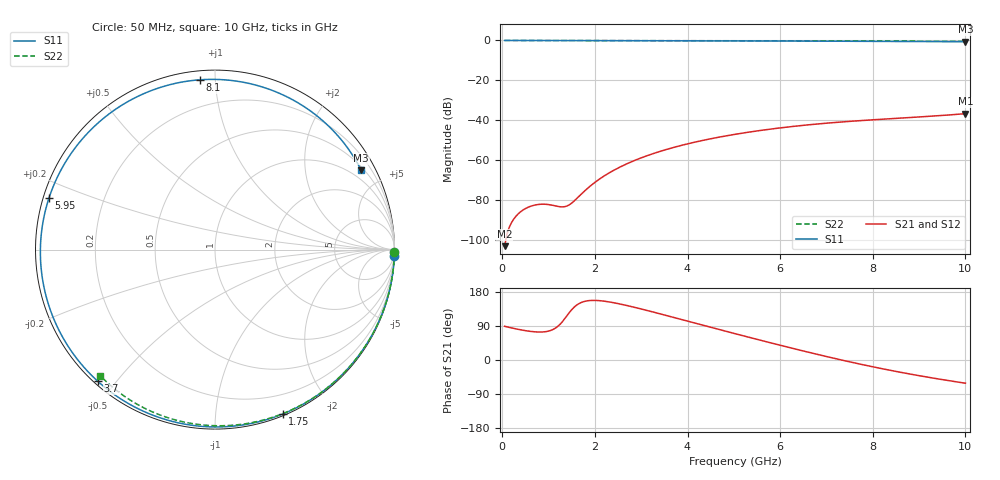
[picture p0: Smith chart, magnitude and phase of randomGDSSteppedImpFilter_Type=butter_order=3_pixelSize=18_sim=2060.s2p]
! freq	dB(S11)	phase(S11)	dB(S12)	phase(S12)
!  dB(S21)	phase(S21)	dB(S22)	phase(S22)
!S-par simulation data
#  GHz  S  DB  R 50
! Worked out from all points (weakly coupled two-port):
!   200 points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, 50 MHz to 10 GHz, reference 50 ohm
!   highest |S21| = -36.77 dB at 10 GHz (marker M1); lowest = -103.3 dB at 50 MHz (marker M2)
!   lowest |S11| = -0.7 dB at 10 GHz (marker M3), VSWR 26.35, Z = 30.8 + j193 ohm
!   |S11| at or under -10 dB: nowhere
!   |S22| runs from -0.4 to 0.0 dB; largest |S21 - S12| = 0
!   S11 on the Smith chart (normalised r, x): 50 MHz: 0, -56; 1.75 GHz: 0.02, -1.49; 3.7 GHz: 0.01, -0.45; 5.95 GHz: 0.02, +0.15; 8.1 GHz: 0.05, +0.91; 10 GHz: 0.62, +3.85
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0.05  -0.00 -2.0  -103.29 89.0  -103.29 89.0  -0.00 -0.8
0.4  -0.02 -16.1  -85.93 79.6  -85.93 79.6  -0.01 -6.1
0.75  -0.04 -29.9  -82.45 73.9  -82.45 73.9  -0.01 -11.4
1.15  -0.06 -45.3  -83.07 84.3  -83.07 84.3  -0.02 -17.5
1.55  -0.07 -60.3  -80.64 139.2  -80.64 139.2  -0.03 -23.5
1.75  -0.08 -67.6  -76.19 153.8  -76.19 153.8  -0.03 -26.4
2.1  -0.09 -80.0  -69.58 156.6  -69.58 156.6  -0.04 -31.6
2.45  -0.11 -92.0  -64.66 150.1  -64.66 150.1  -0.05 -36.7
2.9  -0.12 -106.8  -59.85 137.7  -59.85 137.7  -0.06 -43.2
3.4  -0.14 -122.6  -55.75 122.1  -55.75 122.1  -0.07 -50.3
3.7  -0.16 -131.7  -53.71 112.4  -53.71 112.4  -0.07 -54.5
4.4  -0.19 -152.5  -49.84 89.6  -49.84 89.6  -0.09 -64.1
5.05  -0.22 -171.3  -47.04 68.7  -47.04 68.7  -0.11 -72.8
5.5  -0.25 175.7  -45.43 54.5  -45.43 54.5  -0.13 -78.7
5.95  -0.28 162.6  -44.05 40.5  -44.05 40.5  -0.15 -84.4
6.7  -0.33 140.1  -42.17 17.9  -42.17 17.9  -0.18 -93.8
7.45  -0.39 116.6  -40.71 -3.5  -40.71 -3.5  -0.22 -102.8
8.1  -0.45 95.1  -39.69 -20.5  -39.69 -20.5  -0.27 -110.5
8.35  -0.47 86.6  -39.33 -26.6  -39.33 -26.6  -0.29 -113.4
8.75  -0.51 72.7  -38.77 -35.9  -38.77 -35.9  -0.32 -118.1
9.15  -0.55 58.6  -38.20 -44.6  -38.20 -44.6  -0.36 -122.7
10  -0.66 28.4  -36.77 -61.2  -36.77 -61.2  -0.45 -132.3
